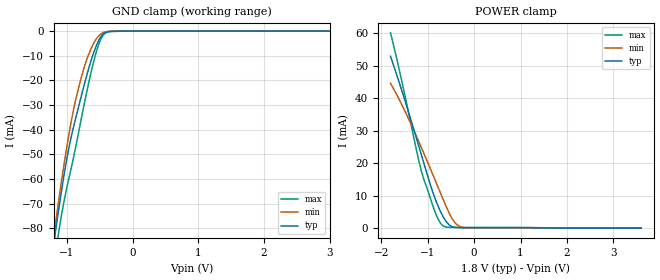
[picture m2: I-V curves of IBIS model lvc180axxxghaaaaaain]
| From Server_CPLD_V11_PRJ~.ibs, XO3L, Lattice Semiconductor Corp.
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[Model]   lvc180axxxghaaaaaain
Model_type   Input
Polarity   Non-Inverting
Enable   Active-Low
Vinl =   0.6300V
Vinh =   1.1700V
C_comp   4.2000pF   3.8000pF   7.5000pF
[Temperature Range]   25.0000   0.1050k   -40.0000
[Voltage Range]   1.8000V   1.7100V   1.8900V
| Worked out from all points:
|   GND clamp passes 1 mA (typ) near -0.44 V on its own axis
|   POWER clamp passes 1 mA (typ) near -0.54 V on its own axis
[GND_clamp]
|Voltage   I(typ)   I(min)   I(max)
-1.8V     -240.2mA   -229.4mA   -254.3mA
-1.2V     -86.19mA   -82.93mA   -94.91mA
-1.17V    -80.47mA   -77.11mA   -89.34mA
-1.11V    -69.48mA   -65.79mA   -78.91mA
-1.02V    -54.51mA   -49.88mA   -65.73mA
-930mV    -42.28mA   -35.92mA   -54.97mA
-780mV    -26.18mA   -18.61mA   -35.3mA
-690mV    -17.17mA   -10.9mA    -23.59mA
-570mV    -7.078mA   -3.876mA   -10.05mA
-450mV    -1.251mA   -635.5uA   -1.696mA
0V        0A         0A         0A
3.6V      0A         0A         0A
[POWER_clamp]
|Voltage   I(typ)   I(min)   I(max)
-1.8V     52.89mA    44.55mA    60.11mA
-1.56V    42.48mA    38.1mA     45.43mA
-1.26V    28.54mA    28.86mA    25.25mA
-1.14V    22.78mA    24.93mA    17.72mA
-960mV    14.19mA    18.89mA    9.998mA
-840mV    9.044mA    14.79mA    4.921mA
-720mV    5.001mA    10.65mA    1.403mA
-660mV    3.348mA    8.596mA    566.5uA
-540mV    992.7uA    4.706mA    207.6uA
-420mV    196.7uA    1.763mA    190.5uA
-240mV    100.9uA    180.2uA    188.6uA
3.6V      -30.34nA   -1.798uA   -37.95uA
